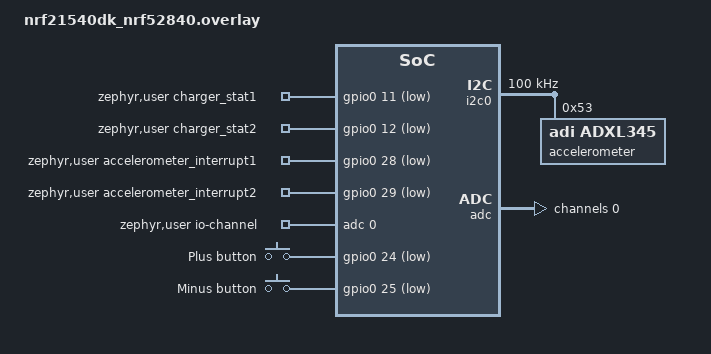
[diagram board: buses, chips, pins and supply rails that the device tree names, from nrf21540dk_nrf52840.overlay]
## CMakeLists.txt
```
# SPDX-License-Identifier: GPL-3.0-or-later

cmake_minimum_required(VERSION 3.20.0)
find_package(Zephyr REQUIRED HINTS $ENV{ZEPHYR_BASE})

project(gtfog_firmware LANGUAGES C CXX)

add_subdirectory(src)
```

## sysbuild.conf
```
SB_CONFIG_BOOTLOADER_MCUBOOT=y
# Swap with revert: an update that never confirms itself is rolled back on the next reset.
SB_CONFIG_MCUBOOT_MODE_SWAP_USING_MOVE=y
```

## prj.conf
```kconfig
# C++23 with the full standard library, no exceptions or RTTI.
CONFIG_CPP=y
CONFIG_STD_CPP23=y
CONFIG_REQUIRES_FULL_LIBCPP=y

# No console: no logging or boot banner. Turn CONFIG_LOG and CONFIG_LOG_BACKEND_RTT on to debug over RTT.
CONFIG_LOG=n
CONFIG_BOOT_BANNER=n
CONFIG_CBPRINTF_FP_SUPPORT=n

CONFIG_MAIN_STACK_SIZE=2048
CONFIG_SYSTEM_WORKQUEUE_STACK_SIZE=2048
CONFIG_HW_STACK_PROTECTION=y
CONFIG_LTO=y
CONFIG_ISR_TABLES_LOCAL_DECLARATION=y

CONFIG_GPIO=y
CONFIG_PWM=y
CONFIG_ADC=y
CONFIG_I2C=y
CONFIG_FPU=y
CONFIG_POWEROFF=y
CONFIG_REBOOT=y
# Hardware watchdog, fed by the battery thread.
CONFIG_WATCHDOG=y

# No 32.768 kHz crystal on the board: the low-frequency clock is the calibrated RC oscillator.
CONFIG_CLOCK_CONTROL_NRF_K32SRC_RC=y

# Settings in the storage partition: Bluetooth bonds and the device settings.
CONFIG_FLASH=y
CONFIG_FLASH_MAP=y
CONFIG_NVS=y
CONFIG_SETTINGS=y

# Bluetooth LE peripheral.
CONFIG_BT=y
CONFIG_BT_PERIPHERAL=y
CONFIG_BT_DEVICE_NAME="GTFOg"
CONFIG_BT_SMP=y
# LE Secure Connections only: legacy pairing can be cracked from a passive capture.
CONFIG_BT_SMP_SC_ONLY=y
CONFIG_BT_SETTINGS=y
# Database hash and Service Changed: bonded phones refresh their GATT cache after a firmware update.
CONFIG_BT_GATT_CACHING=y
CONFIG_BT_ASSERT=n
CONFIG_BT_MAX_CONN=1
# One connection at a time, but remember several phones and PCs; the oldest bond goes when full.
CONFIG_BT_MAX_PAIRED=4
CONFIG_BT_KEYS_OVERWRITE_OLDEST=y
# New pairings only in the first minutes after boot (ble.cpp); bonded phones always reconnect.
CONFIG_BT_SMP_APP_PAIRING_ACCEPT=y
# Large ATT MTU and data length, so one notification carries 40 accelerometer samples.
CONFIG_BT_L2CAP_TX_MTU=247
CONFIG_BT_BUF_ACL_TX_SIZE=251
CONFIG_BT_BUF_ACL_RX_SIZE=251
CONFIG_BT_CTLR_DATA_LENGTH_MAX=251
CONFIG_BT_BAS=y
CONFIG_BT_DIS=y
CONFIG_BT_DIS_MODEL_NUMBER_STR="GTFOg"
CONFIG_BT_DIS_MANUF_NAME_STR="elmaczete_customs"

CONFIG_BOOTLOADER_MCUBOOT=y

# Firmware update over Bluetooth (mcumgr SMP into slot 1); only from a paired phone.
CONFIG_NCS_SAMPLE_MCUMGR_BT_OTA_DFU=y
CONFIG_MCUMGR_TRANSPORT_BT_PERM_RW_ENCRYPT=y
```

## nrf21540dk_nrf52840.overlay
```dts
&gpio0 {
	status = "okay";
};

&pinctrl {
	pwm0_default: pwm0_default {
		group1 {
			psels = <NRF_PSEL(PWM_OUT0, 0, 13)>,
			        <NRF_PSEL(PWM_OUT1, 0, 14)>,
			        <NRF_PSEL(PWM_OUT2, 0, 15)>,
			        <NRF_PSEL(PWM_OUT3, 0, 16)>;
		};
	};
};


/ {
	pwmleds {
		led_r: led_r {
			pwms = <&pwm0 0 PWM_MSEC(20) PWM_POLARITY_NORMAL>;
		};

		led_g: led_g {
			pwms = <&pwm0 1 PWM_MSEC(20) PWM_POLARITY_NORMAL>;
		};

		fan: fan {
			pwms = <&pwm0 3 PWM_MSEC(20) PWM_POLARITY_NORMAL>;
		};

		led_b: led_b {
			pwms = <&pwm0 2 PWM_MSEC(20) PWM_POLARITY_NORMAL>;
		};
	};

	zephyr,user {
		charger_stat1-gpios = <&gpio0 11 (GPIO_ACTIVE_LOW | GPIO_PULL_UP)>;
		charger_stat2-gpios = <&gpio0 12 (GPIO_ACTIVE_LOW | GPIO_PULL_UP)>;
		accelerometer_interrupt1-gpios = <&gpio0 28 (GPIO_ACTIVE_LOW | GPIO_PULL_UP)>;
		accelerometer_interrupt2-gpios = <&gpio0 29 (GPIO_ACTIVE_LOW | GPIO_PULL_UP)>;
		io-channels = <&adc 0>; // VDDHDIV5

	};

	aliases {
		/delete-property/ sw0;
		/delete-property/ sw1;
		/delete-property/ sw2;
		/delete-property/ sw3;
		/delete-property/ mcuboot-button0;
	};


	buttons {
		compatible = "gpio-keys";
		button_plus: button_0 {
			gpios = <&gpio0 24 (GPIO_ACTIVE_LOW | GPIO_PULL_UP)>;
			label = "Plus button";
		};
		button_minus: button_1 {
			gpios = <&gpio0 25 (GPIO_ACTIVE_LOW | GPIO_PULL_UP)>;
			label = "Minus button";
		};
		/* ... other buttons ... */
	};

};
// /delete-node/ &button0;
// /delete-node/ &button1;
// /delete-node/ &button2;
// /delete-node/ &button3;

&i2c0 {
	accelerometer: adxl345@53 {
		compatible = "adi,adxl345";
		reg = <0x53>;
		status = "okay";
	};

	clock-frequency = <I2C_BITRATE_STANDARD>;
};

&i2c0_default {

	group2 {
		psels = <NRF_PSEL(TWIM_SCL, 0, 31)>, <NRF_PSEL(TWIM_SDA, 0, 30)>;
		bias-pull-up;
	};
};
/delete-node/ &{/pin-controller/i2c0_default/group1/};

&i2c0_sleep {

	group2 {
		psels = <NRF_PSEL(TWIM_SCL, 0, 31)>, <NRF_PSEL(TWIM_SDA, 0, 27)>;
		bias-pull-up;
		low-power-enable;
	};
};
/delete-node/ &{/pin-controller/i2c0_sleep/group1/};

&gpio0 {
	wakeup-source;
};



&adc {
	status = "okay";
	#address-cells = <1>;
	#size-cells = <0>;
	channel@0 {
		reg = <0>;
		zephyr,gain = "ADC_GAIN_1_2";
		zephyr,reference = "ADC_REF_INTERNAL";
		zephyr,acquisition-time = <ADC_ACQ_TIME_DEFAULT>;
		zephyr,input-positive = <NRF_SAADC_VDDHDIV5>; /* P0.30 */
		zephyr,resolution = <12>;
	};
};
```

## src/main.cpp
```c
#include "app.hpp"

#include <hal/nrf_power.h>
#include <zephyr/dfu/mcuboot.h>
#include <zephyr/init.h>
#include <zephyr/logging/log.h>

#include <cstdint>

LOG_MODULE_REGISTER(main, LOG_LEVEL_INF);

using namespace gtfog;

namespace {

constexpr auto watchdog_start_margin = K_SECONDS(1);

// A new image confirms itself only when Bluetooth works, else MCUboot reverts it on the next reset.
void confirm_image(int ble_err) {
  if(ble_err == 0 && !boot_is_img_confirmed() && boot_write_img_confirmed() != 0) {
    LOG_ERR("cannot confirm the image");
  }
}

} // namespace

int main() {
  // The settings first (stealth decides whether the LED lights up).
  app_settings_load();
  int ble_err = ble_init();
  if(ble_err != 0) {
    LOG_ERR("Bluetooth: %d", ble_err);
  }
  // A cell that only recovered above the cutoff at rest must not run the fan again: power off before it starts.
  if(auto sample = battery_sample()) {
    if(!battery_allows_start(*sample)) {
      confirm_image(ble_err); // The power off below must not revert a good update.
    }
    with_controller([&](gtfog::controller &control) { control.check_start(*sample); }); // Does not return when the battery is low.
  }
  accelerometer_motion_mode(with_controller([](gtfog::controller &control) {
    control.power_on();
    return control.settings().follows_motion();
  }));
  // The battery thread (and with it the watchdog) starts 500 ms after boot, so wait for it before confirming.
  k_sleep(watchdog_start_margin);
  confirm_image(ble_err);
  LOG_INF("started");
  return 0;
}

namespace {

// The regulator of the nRF52833 (VDDH mode) must give 3.3 V to the GPIOs; a UICR write needs a reset, so it happens once per chip.
// Only an erased value (7) is rewritten: bits cannot be set again without an erase, and a failed write would reset forever.
auto set_gpio_voltage() -> int {
  if(nrf_power_mainregstatus_get(NRF_POWER) != NRF_POWER_MAINREGSTATUS_HIGH) {
    return 0; // Normal voltage mode.
  }
  bool supply_is_3v3 = (NRF_UICR->REGOUT0 & UICR_REGOUT0_VOUT_Msk) == (UICR_REGOUT0_VOUT_3V3 << UICR_REGOUT0_VOUT_Pos);
  bool supply_is_default = (NRF_UICR->REGOUT0 & UICR_REGOUT0_VOUT_Msk) == (UICR_REGOUT0_VOUT_DEFAULT << UICR_REGOUT0_VOUT_Pos);
  if(supply_is_3v3 || !supply_is_default) {
    return 0;
  }

  // ponytail: the NVMC ready waits have no timeout; a UICR write takes microseconds and the reset below ends this path.
  NRF_NVMC->CONFIG = NVMC_CONFIG_WEN_Wen << NVMC_CONFIG_WEN_Pos;
  while(NRF_NVMC->READY == NVMC_READY_READY_Busy) {
  }

  NRF_UICR->REGOUT0 = (NRF_UICR->REGOUT0 & ~static_cast<std::uint32_t>(UICR_REGOUT0_VOUT_Msk)) | (UICR_REGOUT0_VOUT_3V3 << UICR_REGOUT0_VOUT_Pos);

  NRF_NVMC->CONFIG = NVMC_CONFIG_WEN_Ren << NVMC_CONFIG_WEN_Pos;
  while(NRF_NVMC->READY == NVMC_READY_READY_Busy) {
  }

  NVIC_SystemReset();
}

SYS_INIT(set_gpio_voltage, PRE_KERNEL_1, CONFIG_KERNEL_INIT_PRIORITY_DEFAULT);

} // namespace
```

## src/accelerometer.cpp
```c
// ADXL345 over raw I2C: 100 Hz, +-16 g full resolution, FIFO in stream mode. Powered only while a phone subscribes to
// the stream or the fan follows movement; samples go to Bluetooth and to the motion detector.
#include "app.hpp"
#include "motion.hpp"

#include <zephyr/drivers/gpio.h>
#include <zephyr/drivers/i2c.h>
#include <zephyr/logging/log.h>

#include <array>
#include <atomic>
#include <chrono>
#include <optional>
#include <tuple>

LOG_MODULE_REGISTER(accelerometer, LOG_LEVEL_INF);

using gtfog::ble_accelerometer_samples_per_packet, gtfog::ble_accelerometer_send, gtfog::with_controller;

namespace {

constexpr std::uint8_t rate_hz = 100;
constexpr std::uint8_t reg_devid = 0x00, reg_bw_rate = 0x2c, reg_power_ctl = 0x2d, reg_data_format = 0x31, reg_datax0 = 0x32, reg_fifo_ctl = 0x38,
                       reg_fifo_status = 0x39;

i2c_dt_spec const bus = I2C_DT_SPEC_GET(DT_NODELABEL(accelerometer));
gpio_dt_spec const power = GPIO_DT_SPEC_GET(DT_PATH(zephyr_user), accelerometer_pwr_gpios);

constexpr std::chrono::milliseconds poll_time{200}; // The 32-sample FIFO holds 320 ms at 100 Hz.
constexpr auto shutdown_wait = K_SECONDS(1);        // Longest wait for the thread to cut the power.
constexpr auto retry_delay = K_SECONDS(10);
constexpr int sensor_power_cycle_off_ms = 100;   // With the supply off.
constexpr int sensor_settle_ms = 500;            // From supply on until the sensor answers.
constexpr auto lost_retry_delay = K_SECONDS(60); // A sensor that was given up on is tried again this rarely.

std::atomic<bool> streaming{false};
std::atomic<bool> motion_mode{false};
std::atomic<bool> shutdown{false}; // Set before System OFF; the thread then drops the power pin and stays down.
K_SEM_DEFINE(wanted_changed, 0, 1);
K_SEM_DEFINE(shutdown_done, 0, 1);

auto wanted() -> bool { return !shutdown && (streaming || motion_mode); }

// Waits for the next retry; a give from before the call does not cut the wait short. Only a later change does.
void wait_before_retry(k_timeout_t delay) {
  k_sem_reset(&wanted_changed);
  if(wanted()) {
    std::ignore = k_sem_take(&wanted_changed, delay); // A timeout is the normal end.
  }
}

// A pin write that fails leaves the sensor as it was; nothing else to do.
void power_down() { std::ignore = gpio_pin_configure_dt(&power, GPIO_OUTPUT_INACTIVE); }

auto power_up() -> int {
  if(int err = gpio_pin_configure_dt(&power, GPIO_OUTPUT_INACTIVE); err != 0) {
    return err;
  }
  k_msleep(sensor_power_cycle_off_ms);
  if(int err = gpio_pin_set_dt(&power, 1); err != 0) {
    return err;
  }
  k_msleep(sensor_settle_ms);

  std::uint8_t id = 0;
  if(int err = i2c_reg_read_byte_dt(&bus, reg_devid, &id); err != 0) {
    return err;
  }
  if(id != 0xe5) {
    return -ENODEV;
  }
  int err = i2c_reg_write_byte_dt(&bus, reg_power_ctl, 0x00);      // Standby while configuring.
  err = err ?: i2c_reg_write_byte_dt(&bus, reg_data_format, 0x0b); // Full resolution, +-16 g.
  err = err ?: i2c_reg_write_byte_dt(&bus, reg_bw_rate, 0x0a);     // 100 Hz.
  err = err ?: i2c_reg_write_byte_dt(&bus, reg_fifo_ctl, 0x80);    // FIFO stream mode.
  return err ?: i2c_reg_write_byte_dt(&bus, reg_power_ctl, 0x08);  // Measure.
}

void flush_fifo() {
  // A missed flush only repeats or drops a few samples; a dead sensor is caught by the watchdog.
  std::ignore = i2c_reg_write_byte_dt(&bus, reg_fifo_ctl, 0x00);
  std::ignore = i2c_reg_write_byte_dt(&bus, reg_fifo_ctl, 0x80);
}

void sensor_gone() {
  LOG_ERR("accelerometer lost");
  with_controller([](gtfog::controller &control) { control.sensor_lost(); });
}

void accelerometer_thread(void *, void *, void *) {
  std::array<gtfog::accelerometer_sample, gtfog::accelerometer_max_samples> batch{};
  std::array<std::uint8_t, gtfog::accelerometer_header_size + gtfog::accelerometer_sample_size * gtfog::accelerometer_max_samples> packet{};

  using verdict = gtfog::fifo_watchdog::verdict;
  gtfog::fifo_watchdog watchdog;
  while(true) {
    if(!wanted()) {
      power_down(); // The thread owns the pin.
      if(shutdown) {
        k_sem_give(&shutdown_done);
      }
      k_sem_take(&wanted_changed, K_FOREVER);
      continue;
    }
    if(int err = power_up(); err != 0) {
      LOG_ERR("power up: %d", err);
      power_down();
      auto verdict_now = watchdog.poll(false, gtfog::fifo_watchdog::stall_time);
      if(verdict_now == verdict::lost) {
        sensor_gone();
      }
      wait_before_retry(verdict_now == verdict::lost || verdict_now == verdict::still_lost ? lost_retry_delay : retry_delay);
      continue;
    }
    gtfog::activity_classifier classifier;
    std::uint16_t seq = 0;
    std::size_t filled = 0;
    bool was_streaming = false;
    while(wanted()) {
      if(streaming && !was_streaming) {
        flush_fifo();
        classifier.reset();
        seq = 0;
        filled = 0;
      }
      was_streaming = streaming;
      std::size_t per_packet = streaming ? ble_accelerometer_samples_per_packet() : 0;
      std::optional<gtfog::activity_level> level;
      std::uint8_t status = 0;
      bool healthy = i2c_reg_read_byte_dt(&bus, reg_fifo_status, &status) == 0 && gtfog::fifo_entries(status) != 0;
      if(gtfog::fifo_overflowed(status)) {
        LOG_WRN("FIFO overflow");
        flush_fifo(); // Samples were lost; start over.
        classifier.reset();
        status = 0;
      }
      for(unsigned i = 0; i < gtfog::fifo_entries(status); ++i) {
        std::array<std::uint8_t, 6> raw{};
        if(i2c_burst_read_dt(&bus, reg_datax0, raw.data(), raw.size()) != 0) {
          healthy = false;
          continue;
        }
        gtfog::accelerometer_sample sample{static_cast<std::int16_t>(raw[0] | raw[1] << 8), static_cast<std::int16_t>(raw[2] | raw[3] << 8),
                                           static_cast<std::int16_t>(raw[4] | raw[5] << 8)};
        if(auto done = classifier.update(std::span{&sample, 1})) {
          level = done;
        }
        if(per_packet == 0) {
          continue;
        }
        batch[filled++] = sample;
        if(filled >= per_packet) {
          auto len = gtfog::pack_accelerometer_samples(seq++, rate_hz, std::span{batch.data(), filled}, packet);
          ble_accelerometer_send(std::span{packet.data(), len});
          filled = 0;
          per_packet = ble_accelerometer_samples_per_packet();
        }
      }
      if(motion_mode && level) {
        with_controller([&](gtfog::controller &control) { control.observe(*level); });
      }
      auto verdict_now = watchdog.poll(healthy, poll_time);
      if(verdict_now == verdict::lost) {
        sensor_gone();
      }
      if(verdict_now != verdict::ok) {
        LOG_WRN("no samples, power cycling the sensor");
        if(verdict_now == verdict::lost || verdict_now == verdict::still_lost) {
          power_down();
          wait_before_retry(lost_retry_delay);
        }
        break; // Back to power_up().
      }
      k_msleep(poll_time.count());
    }
  }
}

K_THREAD_DEFINE(accelerometer, 1536, accelerometer_thread, nullptr, nullptr, nullptr, 10, 0, 100);

} // namespace

void gtfog::accelerometer_stream(bool on) {
  streaming = on;
  k_sem_give(&wanted_changed);
}

void gtfog::accelerometer_motion_mode(bool on) {
  motion_mode = on;
  k_sem_give(&wanted_changed);
}

void gtfog::accelerometer_power_off() {
  streaming = false;
  motion_mode = false;
  shutdown = true;
  k_sem_give(&wanted_changed);
  // The thread may be inside power_up() (0.6 s) or wait for the controller mutex held by our caller; do not wait for ever.
  std::ignore = k_sem_take(&shutdown_done, shutdown_wait);
  power_down(); // Fallback when the thread did not answer in time.
}
```

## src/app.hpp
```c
#ifndef GTFOG_APP_HPP
#define GTFOG_APP_HPP

#include "controller.hpp"

#include <zephyr/kernel.h>

#include <cstddef>
#include <optional>
#include <span>
#include <utility>

extern k_mutex controller_mutex;
[[nodiscard]] auto app_controller() noexcept -> gtfog::controller &;

// Runs `f(controller &)` with the controller locked; every thread goes through here.
template <typename F> decltype(auto) with_controller(F &&f) {
  struct lock {
    lock() { k_mutex_lock(&controller_mutex, K_FOREVER); }
    ~lock() { k_mutex_unlock(&controller_mutex); }
  } held;
  return std::forward<F>(f)(app_controller());
}

// Blocks until both buttons are released, then arms them to wake the device from System OFF.
void buttons_arm_wake();

// Loads the settings of the "gtfog" subtree from flash into the controller; independent of Bluetooth.
void app_settings_load();
[[nodiscard]] auto ble_init() -> int;
[[nodiscard]] auto ble_connected() -> bool;
void ble_state_changed(); // Notifies the fan speed and strobe state to a connected phone.
void ble_battery_changed(std::uint8_t percent);
void ble_charger_changed(gtfog::charger_state state);
[[nodiscard]] auto ble_accel_samples_per_packet() -> std::size_t; // 0 when nobody is connected.
void ble_accel_send(std::span<std::uint8_t const> packet);

void ble_settings_changed(gtfog::device_settings const &settings); // Notifies the phone and stores them in flash after 2 s; does not block.
void ble_settings_flush();                                         // Stores them now, in the calling thread (before System OFF).

// One synchronous battery sample (boot check); empty when the ADC does not work.
[[nodiscard]] auto battery_sample() -> std::optional<gtfog::battery_status>;

void accelerometer_stream(bool on);
void accelerometer_motion_mode(bool on); // Powers the sensor for motion detection while on.
void accelerometer_power_off();          // Cuts the sensor's power before System OFF; any thread, never takes the controller mutex.

#endif
```

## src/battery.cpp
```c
// Measures the battery and reads the charger status pins.
#include "app.hpp"

#include <zephyr/drivers/adc.h>
#include <zephyr/drivers/gpio.h>
#include <zephyr/drivers/watchdog.h>
#include <zephyr/logging/log.h>

#include <chrono>
#include <tuple>

LOG_MODULE_REGISTER(battery, LOG_LEVEL_INF);

using gtfog::read_failure_guard, gtfog::ble_battery_changed, gtfog::ble_charger_changed, gtfog::ble_connected, gtfog::with_controller;

namespace {

// ponytail: VBAT reaches AIN4 through a 47k/47k divider (POWER sheet); calibrate against a multimeter.
constexpr int vbat_divider = 2;
constexpr unsigned sample_interval_s = 10;        // The auto-off resolution.
constexpr auto fault_signal_delay = K_SECONDS(2); // Lets the power-on signal finish first.
constexpr std::uint32_t watchdog_timeout_ms = 30'000;

device const *const watchdog = DEVICE_DT_GET(DT_NODELABEL(wdt0));
int watchdog_channel = -1;

// Resets the device when the loop below does not come back to feed it, e.g. a controller mutex held forever. A failure is
// only logged: the device works without the watchdog.
auto watchdog_start() -> int {
  if(!device_is_ready(watchdog)) {
    return -ENODEV;
  }
  wdt_timeout_cfg timeout{.window = {.min = 0, .max = watchdog_timeout_ms}, .callback = nullptr, .flags = WDT_FLAG_RESET_SOC};
  watchdog_channel = wdt_install_timeout(watchdog, &timeout);
  if(watchdog_channel < 0) {
    return watchdog_channel;
  }
  return wdt_setup(watchdog, WDT_OPT_PAUSE_HALTED_BY_DBG);
}

adc_dt_spec const vbat = ADC_DT_SPEC_GET_BY_NAME(DT_NODELABEL(adc), vbat);
gpio_dt_spec const stat1 = GPIO_DT_SPEC_GET(DT_PATH(zephyr_user), charger_stat1_gpios);
gpio_dt_spec const stat2 = GPIO_DT_SPEC_GET(DT_PATH(zephyr_user), charger_stat2_gpios);

// Called by main (boot check) and the battery thread; the first successful setup is the only one, so no channel is
// reconfigured while the other thread reads.
K_MUTEX_DEFINE(setup_mutex);
bool setup_done;

auto setup_once() -> int {
  if(!adc_is_ready_dt(&vbat) || !gpio_is_ready_dt(&stat1) || !gpio_is_ready_dt(&stat2)) {
    return -ENODEV;
  }
  if(int err = adc_channel_setup_dt(&vbat); err != 0) {
    return err;
  }
  if(int err = gpio_pin_configure_dt(&stat1, GPIO_INPUT); err != 0) {
    return err;
  }
  return gpio_pin_configure_dt(&stat2, GPIO_INPUT);
}

auto setup() -> int {
  k_mutex_lock(&setup_mutex, K_FOREVER);
  int err = setup_done ? 0 : setup_once();
  setup_done = err == 0;
  k_mutex_unlock(&setup_mutex);
  return err;
}

auto read_millivolts() -> int {
  // One 10 us sample catches the ripple of the fan's boost converter at random: average 2^8 samples (about 3 ms) in the
  // SAADC and calibrate its offset on every read (every 10 s, so temperature drift does not matter).
  constexpr std::uint8_t oversampling = 8;
  std::int16_t sample{};
  adc_sequence sequence{.buffer = &sample, .buffer_size = sizeof(sample)};
  if(int err = adc_sequence_init_dt(&vbat, &sequence); err != 0) {
    return err;
  }
  sequence.oversampling = oversampling;
  sequence.calibrate = true;
  if(int err = adc_read_dt(&vbat, &sequence); err != 0) {
    return err;
  }
  std::int32_t millivolts = sample;
  if(int err = adc_raw_to_millivolts_dt(&vbat, &millivolts); err != 0) {
    return err;
  }
  return millivolts * vbat_divider;
}

// The fan's current makes single reads jump by hundreds of mV; the controller needs one value per period, so the reads of the
// whole period are averaged. Takes the period; failed reads are left out, all failing returns the last error.
constexpr int reads_per_sample = 50;

auto read_period_average() -> int {
  int sum = 0;
  int good = 0;
  int err = -EIO;
  for(int i = 0; i != reads_per_sample; ++i) {
    k_msleep(sample_interval_s * 1000 / reads_per_sample);
    if(int millivolts = read_millivolts(); millivolts < 0) {
      err = millivolts;
    } else {
      sum += millivolts;
      ++good;
    }
  }
  return good != 0 ? sum / good : err;
}

gtfog::battery_status make_status(int millivolts) {
  return {millivolts, gtfog::decode_charger_state(gpio_pin_get_dt(&stat1) > 0, gpio_pin_get_dt(&stat2) > 0)};
}

void battery_thread(void *, void *, void *) {
  if(int err = watchdog_start(); err != 0) {
    LOG_ERR("watchdog: %d", err);
    watchdog_channel = -1;
  }
  // Without a working ADC the loop still counts the idle time for the auto-off.
  int setup_err = setup();
  if(setup_err != 0) {
    LOG_ERR("setup: %d", setup_err);
    // ponytail: the low-battery cutoff and the BAS value are gone until a retry works; show it after the power-on signal.
    k_sleep(fault_signal_delay);
    with_controller([](gtfog::controller &control) { control.report(gtfog::signal::fault); });
  }
  read_failure_guard read_guard;
  std::int64_t counted_ms = k_uptime_get();
  while(true) {
    // The loop runs a little slower than its period; count the real time, keeping the remainder.
    auto idle = std::chrono::duration_cast<std::chrono::seconds>(std::chrono::milliseconds{k_uptime_get() - counted_ms});
    counted_ms += std::chrono::duration_cast<std::chrono::milliseconds>(idle).count();
    if(setup_err != 0) {
      setup_err = setup(); // Retried every period; a failure counts as a failed read below.
    }
    bool averaged = setup_err == 0;
    int millivolts = averaged ? read_period_average() : setup_err; // The average takes the whole period.
    // Fed right after the controller mutex section, before anything that may block (notifications).
    auto feed_watchdog = [] {
      if(watchdog_channel >= 0) {
        std::ignore = wdt_feed(watchdog, watchdog_channel); // A failed feed ends in a reset, which is the safe outcome.
      }
    };
    if(millivolts < 0) {
      LOG_WRN("ADC read: %d", millivolts);
      // Failing reads, or a setup that keeps failing, mean no cutoff, so they end in a power off.
      auto verdict = read_guard.update(false);
      with_controller([&](gtfog::controller &control) {
        control.elapsed(idle, ble_connected());
        if(verdict == read_failure_guard::verdict::fault) {
          control.report(gtfog::signal::fault);
        } else if(verdict == read_failure_guard::verdict::power_off) {
          control.battery_unreadable(); // Does not return on the board.
        }
      });
      feed_watchdog();
    } else {
      std::ignore = read_guard.update(true);
      auto status = make_status(millivolts);
      LOG_DBG("%d mV, charger %d", millivolts, static_cast<int>(status.charger));
      auto percent = with_controller([&](gtfog::controller &control) {
        control.handle(status);
        control.elapsed(idle, ble_connected());
        return control.battery_level();
      });
      feed_watchdog();
      ble_battery_changed(percent);
      ble_charger_changed(status.charger);
    }
    if(!averaged) {
      k_sleep(K_SECONDS(sample_interval_s));
    }
  }
}

K_THREAD_DEFINE(battery, 2048, battery_thread, nullptr, nullptr, nullptr, 7, 0, 500);

} // namespace

auto gtfog::battery_sample() -> std::optional<gtfog::battery_status> {
  if(setup() != 0) {
    return std::nullopt;
  }
  int millivolts = read_millivolts();
  return millivolts < 0 ? std::nullopt : std::optional{make_status(millivolts)};
}
```

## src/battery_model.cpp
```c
#include "battery_model.hpp"

#include <array>
#include <utility>

namespace gtfog {

auto decode_charger_state(bool stat1, bool stat2) noexcept -> charger_state {
  // BQ25185 datasheet, status pin table: high/high is done, sleeping or no input; high/low is charging; low/x is a
  // recoverable (low/high) or latched (low/low) fault.
  if(!stat1) {
    return charger_state::fault;
  }
  return stat2 ? charger_state::not_charging : charger_state::charging;
}

auto battery_percentage(int millivolts) noexcept -> std::uint8_t {
  // ponytail: generic Li-ion curve at light load; measure the real cell to calibrate.
  constexpr std::array<std::pair<int, int>, 8> curve{{
      {3300, 0},
      {3500, 5},
      {3600, 10},
      {3700, 30},
      {3800, 50},
      {3900, 65},
      {4000, 80},
      {4200, 100},
  }};

  if(millivolts <= curve.front().first) {
    return 0;
  }
  for(std::size_t i = 1; i != curve.size(); ++i) {
    auto [upper_millivolts, upper_percent] = curve[i];
    if(millivolts < upper_millivolts) {
      auto [lower_millivolts, lower_percent] = curve[i - 1];
      return static_cast<std::uint8_t>(lower_percent +
                                       (millivolts - lower_millivolts) * (upper_percent - lower_percent) / (upper_millivolts - lower_millivolts));
    }
  }
  return 100;
}

auto battery_guard::update(battery_status status) noexcept -> bool {
  bool on_external_power = status.charger == charger_state::charging;
  if(on_external_power || status.millivolts >= cutoff_millivolts) {
    low_samples = 0;
    return false;
  }
  if(low_samples < samples_below_cutoff) {
    ++low_samples;
  }
  return low_samples == samples_below_cutoff;
}

} // namespace gtfog
```

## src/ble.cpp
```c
// Bluetooth LE peripheral: the GTFOg control service, Battery Service and Device Information Service.
#include "app.hpp"
#include "motion.hpp"

#include <zephyr/bluetooth/bluetooth.h>
#include <zephyr/bluetooth/conn.h>
#include <zephyr/bluetooth/gatt.h>
#include <zephyr/bluetooth/services/bas.h>
#include <zephyr/bluetooth/uuid.h>
#include <zephyr/logging/log.h>
#include <zephyr/settings/settings.h>

#include <algorithm>
#include <array>
#include <atomic>
#include <cstring>
#include <optional>
#include <tuple>
#include <utility>

LOG_MODULE_REGISTER(ble, LOG_LEVEL_INF);

using gtfog::accelerometer_stream, gtfog::with_controller;

namespace {

K_MUTEX_DEFINE(save_lock); // Keeps the delayed save and the save before System OFF apart.

#define GTFOG_UUID(n) BT_UUID_INIT_128(BT_UUID_128_ENCODE(0xa7f00000 + (n), 0x5c1e, 0x4b8e, 0x9d2a, 0x6f0e1c3b4d50))

bt_uuid_128 const service_uuid = GTFOG_UUID(1);
bt_uuid_128 const fan_uuid = GTFOG_UUID(2);
bt_uuid_128 const strobe_uuid = GTFOG_UUID(3);
bt_uuid_128 const accelerometer_uuid = GTFOG_UUID(4);
bt_uuid_128 const charger_uuid = GTFOG_UUID(5);
bt_uuid_128 const settings_uuid = GTFOG_UUID(6);
bt_uuid_128 const effective_fan_uuid = GTFOG_UUID(7);
bt_uuid_128 const rf_test_uuid = GTFOG_UUID(8);
constexpr char settings_key[] = "gtfog/cfg";
constexpr auto save_delay = K_SECONDS(2); // Settings changes within this time are stored together.
constexpr auto advertising_retry = K_SECONDS(5);

std::atomic<std::uint8_t> charger{0};
// ponytail: one connection at a time (CONFIG_BT_MAX_CONN=1); the accelerometer thread reads only the cached ATT MTU.
std::atomic<bt_conn *> current_conn{nullptr};
std::atomic<std::uint16_t> att_mtu{0};
std::atomic<bool> stopping{false};       // ble_stop() ran: no more advertising.
std::atomic<bool> link_encrypted{false}; // Security level 2 or higher; only such a connection counts as a phone in use.

auto read_fan(bt_conn *conn, bt_gatt_attr const *attr, void *buf, std::uint16_t len, std::uint16_t offset) -> ssize_t {
  auto value = with_controller([](gtfog::controller &control) { return static_cast<std::uint8_t>(control.fan_speed()); });
  return bt_gatt_attr_read(conn, attr, buf, len, offset, &value, sizeof(value));
}

auto write_fan(bt_conn *, bt_gatt_attr const *, void const *buf, std::uint16_t len, std::uint16_t offset, std::uint8_t) -> ssize_t {
  if(offset != 0 || len != 1) {
    return BT_GATT_ERR(BT_ATT_ERR_INVALID_ATTRIBUTE_LEN);
  }
  auto value = *static_cast<std::uint8_t const *>(buf);
  if(!gtfog::is_fan_percent(value)) {
    return BT_GATT_ERR(BT_ATT_ERR_VALUE_NOT_ALLOWED);
  }
  with_controller([&](gtfog::controller &control) { control.set_fan_speed(value); });
  return len;
}

auto read_strobe(bt_conn *conn, bt_gatt_attr const *attr, void *buf, std::uint16_t len, std::uint16_t offset) -> ssize_t {
  std::uint8_t value = with_controller([](gtfog::controller &control) { return control.strobe(); });
  return bt_gatt_attr_read(conn, attr, buf, len, offset, &value, sizeof(value));
}

auto write_strobe(bt_conn *, bt_gatt_attr const *, void const *buf, std::uint16_t len, std::uint16_t offset, std::uint8_t) -> ssize_t {
  if(offset != 0 || len != 1) {
    return BT_GATT_ERR(BT_ATT_ERR_INVALID_ATTRIBUTE_LEN);
  }
  auto value = *static_cast<std::uint8_t const *>(buf);
  if(!gtfog::is_strobe_value(value)) {
    return BT_GATT_ERR(BT_ATT_ERR_VALUE_NOT_ALLOWED);
  }
  with_controller([&](gtfog::controller &control) { control.set_strobe(value != 0); });
  return len;
}

auto read_charger(bt_conn *conn, bt_gatt_attr const *attr, void *buf, std::uint16_t len, std::uint16_t offset) -> ssize_t {
  std::uint8_t value = charger;
  return bt_gatt_attr_read(conn, attr, buf, len, offset, &value, sizeof(value));
}

auto read_settings(bt_conn *conn, bt_gatt_attr const *attr, void *buf, std::uint16_t len, std::uint16_t offset) -> ssize_t {
  auto value = gtfog::encode(with_controller([](gtfog::controller &control) { return control.settings(); }));
  return bt_gatt_attr_read(conn, attr, buf, len, offset, value.data(), value.size());
}

auto write_settings(bt_conn *, bt_gatt_attr const *, void const *buf, std::uint16_t len, std::uint16_t offset, std::uint8_t) -> ssize_t {
  // Shorter forms change only the fields they carry, so they are decoded on top of the current settings.
  if(offset != 0) {
    return BT_GATT_ERR(BT_ATT_ERR_INVALID_OFFSET);
  }
  bool accepted = with_controller([&](gtfog::controller &control) {
    auto settings = gtfog::decode_settings({static_cast<std::uint8_t const *>(buf), len}, control.settings());
    if(settings) {
      control.update_settings(*settings); // Calls ble_settings_changed().
    }
    return settings.has_value();
  });
  if(!accepted) {
    return BT_GATT_ERR(gtfog::is_settings_size(len) ? BT_ATT_ERR_VALUE_NOT_ALLOWED : BT_ATT_ERR_INVALID_ATTRIBUTE_LEN);
  }
  return len;
}

std::optional<std::array<std::uint8_t, gtfog::settings_size>> last_saved; // Flash content; used by load_settings and save_pending, under save_lock.
auto load_settings(char const *key, std::size_t len, settings_read_cb read, void *arg) -> int {
  std::array<std::uint8_t, gtfog::settings_size> bytes{};
  if(std::strcmp(key, "cfg") != 0 || !gtfog::is_settings_size(len) || read(arg, bytes.data(), len) != static_cast<ssize_t>(len)) {
    return 0; // Unknown or damaged entries keep the defaults.
  }
  if(auto settings = gtfog::decode_settings({bytes.data(), len})) {
    with_controller([&](gtfog::controller &control) { control.configure(*settings); });
    k_mutex_lock(&save_lock, K_FOREVER);
    last_saved = gtfog::encode(*settings);
    k_mutex_unlock(&save_lock);
  }
  return 0;
}

auto read_effective_fan(bt_conn *conn, bt_gatt_attr const *attr, void *buf, std::uint16_t len, std::uint16_t offset) -> ssize_t {
  auto value = with_controller([](gtfog::controller &control) {
    return std::array<std::uint8_t, 2>{static_cast<std::uint8_t>(control.fan_speed()), control.activity_code()};
  });
  return bt_gatt_attr_read(conn, attr, buf, len, offset, &value, sizeof(value));
}

auto write_rf_test(bt_conn *, bt_gatt_attr const *, void const *buf, std::uint16_t len, std::uint16_t offset, std::uint8_t) -> ssize_t {
  if(offset != 0 || !gtfog::is_rf_test_size(len)) {
    return BT_GATT_ERR(BT_ATT_ERR_INVALID_ATTRIBUTE_LEN);
  }
  auto request = gtfog::decode_rf_test({static_cast<std::uint8_t const *>(buf), len});
  if(!request || gtfog::rf_test_start(*request) != 0) {
    return BT_GATT_ERR(BT_ATT_ERR_VALUE_NOT_ALLOWED);
  }
  return len;
}

void accelerometer_subscribed(bt_gatt_attr const *, std::uint16_t value) { accelerometer_stream(value == BT_GATT_CCC_NOTIFY); }

constexpr auto rw_notify = BT_GATT_CHRC_READ | BT_GATT_CHRC_WRITE | BT_GATT_CHRC_NOTIFY;
constexpr auto encrypted = BT_GATT_PERM_READ_ENCRYPT | BT_GATT_PERM_WRITE_ENCRYPT;

} // namespace

BT_GATT_SERVICE_DEFINE(gtfog_service, BT_GATT_PRIMARY_SERVICE(&service_uuid),
                       BT_GATT_CHARACTERISTIC(&fan_uuid.uuid, rw_notify, encrypted, read_fan, write_fan, nullptr),
                       BT_GATT_CCC(nullptr, BT_GATT_PERM_READ | BT_GATT_PERM_WRITE_ENCRYPT),
                       BT_GATT_CHARACTERISTIC(&strobe_uuid.uuid, rw_notify, encrypted, read_strobe, write_strobe, nullptr),
                       BT_GATT_CCC(nullptr, BT_GATT_PERM_READ | BT_GATT_PERM_WRITE_ENCRYPT),
                       BT_GATT_CHARACTERISTIC(&accelerometer_uuid.uuid, BT_GATT_CHRC_NOTIFY, BT_GATT_PERM_NONE, nullptr, nullptr, nullptr),
                       BT_GATT_CCC(accelerometer_subscribed, BT_GATT_PERM_READ | BT_GATT_PERM_WRITE_ENCRYPT),
                       BT_GATT_CHARACTERISTIC(&charger_uuid.uuid, BT_GATT_CHRC_READ | BT_GATT_CHRC_NOTIFY, BT_GATT_PERM_READ_ENCRYPT, read_charger,
                                              nullptr, nullptr),
                       BT_GATT_CCC(nullptr, BT_GATT_PERM_READ | BT_GATT_PERM_WRITE_ENCRYPT),
                       BT_GATT_CHARACTERISTIC(&settings_uuid.uuid, rw_notify, encrypted, read_settings, write_settings, nullptr),
                       BT_GATT_CCC(nullptr, BT_GATT_PERM_READ | BT_GATT_PERM_WRITE_ENCRYPT),
                       BT_GATT_CHARACTERISTIC(&effective_fan_uuid.uuid, BT_GATT_CHRC_READ | BT_GATT_CHRC_NOTIFY, BT_GATT_PERM_READ_ENCRYPT,
                                              read_effective_fan, nullptr, nullptr),
                       BT_GATT_CCC(nullptr, BT_GATT_PERM_READ | BT_GATT_PERM_WRITE_ENCRYPT),
                       BT_GATT_CHARACTERISTIC(&rf_test_uuid.uuid, BT_GATT_CHRC_WRITE, BT_GATT_PERM_WRITE_ENCRYPT, nullptr, write_rf_test, nullptr), );

SETTINGS_STATIC_HANDLER_DEFINE(gtfog, "gtfog", nullptr, load_settings, nullptr, nullptr);

namespace {

// Attribute indices in gtfog_service: 0 service, 1 + 3k characteristic declaration, 2 + 3k value, 3 + 3k CCC (the RF test one has no CCC).
constexpr auto fan_value = 2;
constexpr auto strobe_value = 5;
constexpr auto accelerometer_value = 8;
constexpr auto charger_value = 11;
constexpr auto settings_value = 14;
constexpr auto effective_fan_value = 17;
static_assert(ARRAY_SIZE(attr_gtfog_service) == 21, "update the attribute indices above");

std::uint8_t const flags[] = {BT_LE_AD_GENERAL | BT_LE_AD_NO_BREDR};
std::uint8_t const service_uuid_bytes[] = {BT_UUID_128_ENCODE(0xa7f00001, 0x5c1e, 0x4b8e, 0x9d2a, 0x6f0e1c3b4d50)};

bt_data const advertising[] = {
    {BT_DATA_FLAGS, sizeof(flags), flags},
    {BT_DATA_UUID128_ALL, sizeof(service_uuid_bytes), service_uuid_bytes},
};
bt_data const scan_response[] = {
    {BT_DATA_NAME_COMPLETE, sizeof(CONFIG_BT_DEVICE_NAME) - 1, reinterpret_cast<std::uint8_t const *>(CONFIG_BT_DEVICE_NAME)},
};

void start_advertising(k_work *work);
K_WORK_DELAYABLE_DEFINE(advertising_work, start_advertising);

// A failed start is tried again every 5 s, so the device does not stay unreachable.
void start_advertising(k_work *) {
  if(stopping) {
    return;
  }
  bt_le_adv_param param = BT_LE_ADV_PARAM_INIT(BT_LE_ADV_OPT_CONN, BT_GAP_ADV_FAST_INT_MIN_2, BT_GAP_ADV_FAST_INT_MAX_2, nullptr);
  if(int err = bt_le_adv_start(&param, advertising, ARRAY_SIZE(advertising), scan_response, ARRAY_SIZE(scan_response));
     err != 0 && err != -EALREADY) {
    LOG_ERR("advertising: %d", err);
    k_work_reschedule(&advertising_work, advertising_retry);
  }
}

void notify_state(k_work *) {
  auto [fan, activity, strobe] = with_controller([](gtfog::controller &control) {
    return std::tuple<std::uint8_t, std::uint8_t, std::uint8_t>(control.fan_speed(), control.activity_code(), control.strobe());
  });
  std::array<std::uint8_t, 2> const actual{fan, activity};
  // -ENOTCONN and friends only mean nobody listens.
  std::ignore = bt_gatt_notify(nullptr, &gtfog_service.attrs[fan_value], &fan, sizeof(fan));
  std::ignore = bt_gatt_notify(nullptr, &gtfog_service.attrs[effective_fan_value], actual.data(), actual.size());
  std::ignore = bt_gatt_notify(nullptr, &gtfog_service.attrs[strobe_value], &strobe, sizeof(strobe));
}
K_WORK_DEFINE(notify_work, notify_state);

std::optional<std::array<std::uint8_t, gtfog::settings_size>> pending_settings;
k_spinlock pending_settings_lock;

// Writes the newest settings to flash unless they are already there. Used by the delayed work and by ble_settings_flush.
void save_pending() {
  k_mutex_lock(&save_lock, K_FOREVER);
  auto key = k_spin_lock(&pending_settings_lock);
  auto bytes = pending_settings;
  k_spin_unlock(&pending_settings_lock, key);
  if(bytes && bytes != last_saved) {
    if(int err = settings_save_one(settings_key, bytes->data(), bytes->size()); err != 0) {
      LOG_ERR("save settings: %d", err);
    } else {
      last_saved = bytes;
    }
  }
  k_mutex_unlock(&save_lock);
}

void save_settings(k_work *) { save_pending(); }
K_WORK_DELAYABLE_DEFINE(save_settings_work, save_settings);

void notify_settings(k_work *) {
  auto key = k_spin_lock(&pending_settings_lock);
  auto bytes = pending_settings;
  k_spin_unlock(&pending_settings_lock, key);
  if(bytes) {
    // Fails only when nobody listens.
    std::ignore = bt_gatt_notify(nullptr, &gtfog_service.attrs[settings_value], bytes->data(), static_cast<std::uint16_t>(bytes->size()));
  }
}
K_WORK_DEFINE(notify_settings_work, notify_settings);

// The battery thread feeds the watchdog, so it hands its notifications to the system workqueue: there Zephyr does not
// wait for a free ATT buffer (elsewhere it waits forever, e.g. while the accelerometer stream fills a slow link).
// A dropped notification is fine: the phone reads both values after connecting and the next sample sends them again.
std::atomic<std::uint8_t> battery_percent{100};

void notify_battery(k_work *) {
  std::ignore = bt_bas_set_battery_level(battery_percent); // Only fails for a value above 100.
}
K_WORK_DEFINE(notify_battery_work, notify_battery);

void notify_charger(k_work *) {
  std::uint8_t value = charger;
  std::ignore = bt_gatt_notify(nullptr, &gtfog_service.attrs[charger_value], &value, sizeof(value)); // Fails only when nobody listens.
}
K_WORK_DEFINE(notify_charger_work, notify_charger);

// Remembers that a refused pairing needs a status LED signal; the work takes the controller mutex, the Bluetooth callback must not.
void report_pairing_refused(k_work *) {
  with_controller([](gtfog::controller &control) { control.report(gtfog::signal::pairing_refused); });
}
K_WORK_DEFINE(pairing_refused_work, report_pairing_refused);

// New pairings are only accepted in the first minutes after boot; bonded phones are not asked.
enum bt_security_err pairing_accept(bt_conn *, bt_conn_pairing_feat const *) {
  constexpr std::int64_t pairing_window_ms = 3 * 60 * 1000;
  if(k_uptime_get() < pairing_window_ms) {
    return BT_SECURITY_ERR_SUCCESS;
  }
  k_work_submit(&pairing_refused_work);
  return BT_SECURITY_ERR_PAIR_NOT_ALLOWED;
}

bt_conn_auth_cb const auth_callbacks = {.pairing_accept = pairing_accept};

void connected(bt_conn *conn, std::uint8_t err) {
  if(err != 0) {
    LOG_WRN("connection failed: 0x%02x", err);
    return;
  }
  att_mtu = bt_gatt_get_mtu(conn);
  current_conn = bt_conn_ref(conn);
}

void security_changed(bt_conn *conn, bt_security_t level, bt_security_err err) {
  if(err == BT_SECURITY_ERR_SUCCESS && conn == current_conn) {
    link_encrypted = level >= BT_SECURITY_L2;
  }
}

void mtu_updated(bt_conn *, std::uint16_t tx, std::uint16_t rx) { att_mtu = std::min(tx, rx); }

bt_gatt_cb gatt_callbacks = {.att_mtu_updated = mtu_updated};

void disconnected(bt_conn *conn, std::uint8_t reason) {
  LOG_INF("disconnected: 0x%02x", reason);
  accelerometer_stream(false);
  if(conn == current_conn) {
    att_mtu = 0;
    link_encrypted = false;
    bt_conn_unref(current_conn.exchange(nullptr));
  }
}

void recycled() { k_work_reschedule(&advertising_work, K_NO_WAIT); }

} // namespace

BT_CONN_CB_DEFINE(connection_callbacks) = {
    .connected = connected,
    .disconnected = disconnected,
    .recycled = recycled,
    .security_changed = security_changed,
};

namespace gtfog {

void app_settings_load() {
  if(int err = settings_subsys_init(); err != 0) {
    LOG_WRN("settings init: %d", err);
    return;
  }
  if(int err = settings_load_subtree("gtfog"); err != 0) {
    LOG_WRN("settings: %d", err);
  }
}

auto ble_init() -> int {
  bt_gatt_cb_register(&gatt_callbacks);
  if(int err = bt_conn_auth_cb_register(&auth_callbacks); err != 0) {
    return err;
  }
  if(int err = bt_enable(nullptr); err != 0) {
    return err;
  }
  if(int err = settings_load_subtree("bt"); err != 0) { // Bonds; the "gtfog" subtree was loaded by app_settings_load().
    LOG_WRN("bt settings: %d", err);
  }
  k_work_reschedule(&advertising_work, K_NO_WAIT);
  return 0;
}

auto ble_stop() -> int {
  constexpr auto disconnect_wait_ms = 2000;
  stopping = true;
  if(auto *conn = current_conn.load()) {
    std::ignore = bt_conn_disconnect(conn, BT_HCI_ERR_REMOTE_USER_TERM_CONN); // Fails only when it is gone already.
  }
  for(int waited = 0; waited < disconnect_wait_ms && current_conn; waited += 10) {
    k_msleep(10);
  }
  std::ignore = bt_le_adv_stop(); // Fails when not advertising.
  return bt_disable();
}

auto ble_connected() -> bool { return link_encrypted; }

void ble_state_changed() {
  if(bt_is_ready()) {
    k_work_submit(&notify_work);
  }
}

void ble_settings_changed(device_settings const &settings) {
  auto key = k_spin_lock(&pending_settings_lock);
  pending_settings = encode(settings);
  k_spin_unlock(&pending_settings_lock, key);
  k_work_submit(&notify_settings_work);
  // Bursts (button auto-repeat in motion mode) become one flash write.
  k_work_reschedule(&save_settings_work, save_delay);
}

void ble_settings_flush() {
  k_work_cancel_delayable(&save_settings_work); // Does not wait: the system workqueue may be blocked on the controller mutex.
  save_pending();
}

void ble_battery_changed(std::uint8_t percent) {
  battery_percent = percent;
  if(bt_is_ready()) {
    k_work_submit(&notify_battery_work);
  }
}

void ble_charger_changed(charger_state state) {
  auto value = static_cast<std::uint8_t>(state);
  if(charger.exchange(value) != value && bt_is_ready()) {
    k_work_submit(&notify_charger_work);
  }
}

auto ble_accelerometer_samples_per_packet() -> std::size_t {
  return accelerometer_samples_per_packet(att_mtu); // 0 without a connection.
}

void ble_accelerometer_send(std::span<std::uint8_t const> packet) {
  // Waits for a free ATT buffer (this is not the system workqueue); a failed send drops the packet and the sequence number
  // shows the gap to the phone.
  std::ignore = bt_gatt_notify(nullptr, &gtfog_service.attrs[accelerometer_value], packet.data(), static_cast<std::uint16_t>(packet.size()));
}

} // namespace gtfog
```

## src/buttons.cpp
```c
// Samples the plus and minus buttons and feeds them to the gesture detector.
#include "app.hpp"

#include <zephyr/drivers/gpio.h>
#include <zephyr/init.h>
#include <zephyr/logging/log.h>

#include <chrono>
#include <tuple>

LOG_MODULE_REGISTER(buttons, LOG_LEVEL_INF);

using gtfog::with_controller;

namespace {

constexpr auto poll_interval = K_MSEC(20);
constexpr auto fault_signal_delay = K_SECONDS(2); // Lets the power-on signal finish first.

gpio_dt_spec const plus = GPIO_DT_SPEC_GET(DT_NODELABEL(button_plus), gpios);
gpio_dt_spec const minus = GPIO_DT_SPEC_GET(DT_NODELABEL(button_minus), gpios);

gpio_callback plus_callback;
gpio_callback minus_callback;

K_SEM_DEFINE(button_changed, 0, 1);

void on_change(device const *, gpio_callback *, std::uint32_t) { k_sem_give(&button_changed); }

auto setup(gpio_dt_spec const &button, gpio_callback &callback) -> int {
  if(!gpio_is_ready_dt(&button)) {
    return -ENODEV;
  }
  if(int err = gpio_pin_configure_dt(&button, GPIO_INPUT); err != 0) {
    return err;
  }
  if(int err = gpio_pin_interrupt_configure_dt(&button, GPIO_INT_EDGE_BOTH); err != 0) {
    return err;
  }
  gpio_init_callback(&callback, on_change, BIT(button.pin));
  return gpio_add_callback_dt(&button, &callback);
}

int init_error = 0;

auto buttons_init() -> int {
  init_error = setup(plus, plus_callback);
  init_error = init_error ?: setup(minus, minus_callback);
  return init_error;
}

SYS_INIT(buttons_init, APPLICATION, CONFIG_APPLICATION_INIT_PRIORITY);

void buttons_thread(void *, void *, void *) {
  gtfog::button_gestures gestures;
  gestures.wait_for_release(); // The press that woke the device may still be going on.
  if(init_error != 0) {
    LOG_ERR("buttons: %d", init_error);
    // ponytail: no interrupts, so only the polling below could work; show the fault once, after the power-on signal.
    k_sleep(fault_signal_delay);
    with_controller([](gtfog::controller &control) { control.report(gtfog::signal::fault); });
  }
  while(true) {
    auto now = std::chrono::milliseconds{k_uptime_get()};
    auto event = gestures.update(gpio_pin_get_dt(&plus) > 0, gpio_pin_get_dt(&minus) > 0, now);
    if(event && !gtfog::rf_test_running()) {
      with_controller([&](gtfog::controller &control) { control.handle(*event); });
    }
    k_sem_take(&button_changed, (init_error != 0 || !gestures.is_idle()) ? poll_interval : K_FOREVER);
  }
}

K_THREAD_DEFINE(buttons, 2048, buttons_thread, nullptr, nullptr, nullptr, 5, 0, 0);

} // namespace

auto gtfog::buttons_pressed() -> bool { return gpio_pin_get_dt(&plus) > 0 || gpio_pin_get_dt(&minus) > 0; }

void gtfog::buttons_arm_wake() {
  constexpr auto release_timeout_ms = 10'000;
  for(int waited = 0; waited < release_timeout_ms && (gpio_pin_get_dt(&plus) > 0 || gpio_pin_get_dt(&minus) > 0); waited += 10) {
    k_msleep(10);
  }
  // A button still held would wake the chip at once, so a stuck one is left out; with both held there is no choice.
  bool plus_held = gpio_pin_get_dt(&plus) > 0;
  bool minus_held = gpio_pin_get_dt(&minus) > 0;
  auto arm = [](gpio_dt_spec const &button, bool on) {
    return gpio_pin_interrupt_configure_dt(&button, on ? GPIO_INT_LEVEL_ACTIVE : GPIO_INT_DISABLE);
  };
  // Not registered when setup failed (-EINVAL); the level interrupts below do not need the callbacks.
  std::ignore = gpio_remove_callback_dt(&plus, &plus_callback);
  std::ignore = gpio_remove_callback_dt(&minus, &minus_callback);
  if(arm(plus, !plus_held || minus_held) != 0 || arm(minus, !minus_held || plus_held) != 0) {
    LOG_ERR("cannot arm the buttons for wake-up");
  }
}
```

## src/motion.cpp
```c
#include "motion.hpp"

#include <cmath>

namespace gtfog {

namespace {

auto put16(std::uint8_t *at, std::int32_t value) noexcept -> std::uint8_t * {
  auto v = static_cast<std::uint16_t>(value);
  at[0] = static_cast<std::uint8_t>(v & 0xff);
  at[1] = static_cast<std::uint8_t>(v >> 8);
  return at + 2;
}

} // namespace

auto pack_accelerometer_samples(std::uint16_t seq, std::uint8_t rate_hz, std::span<accelerometer_sample const> samples,
                                std::span<std::uint8_t> out) noexcept -> std::size_t {
  if(samples.size() > 255 || out.size() < accelerometer_header_size + accelerometer_sample_size * samples.size()) {
    return 0;
  }
  auto *at = put16(out.data(), seq);
  *at++ = rate_hz;
  *at++ = static_cast<std::uint8_t>(samples.size());
  for(auto const &s : samples) {
    at = put16(at, counts_to_milli_g(s.x));
    at = put16(at, counts_to_milli_g(s.y));
    at = put16(at, counts_to_milli_g(s.z));
  }
  return static_cast<std::size_t>(at - out.data());
}

auto activity_classifier::update(std::span<accelerometer_sample const> samples) noexcept -> std::optional<activity_level> {
  std::optional<activity_level> level;
  for(auto const &s : samples) {
    float x = counts_to_milli_g(s.x), y = counts_to_milli_g(s.y), z = counts_to_milli_g(s.z);
    float magnitude = std::sqrt(x * x + y * y + z * z);
    float delta = magnitude - mean;
    mean += delta / static_cast<float>(++count);
    m2 += delta * (magnitude - mean);
    if(count == window_samples) {
      float deviation = std::sqrt(m2 / window_samples);
      level = deviation < walk_threshold_milli_g  ? activity_level::still
              : deviation < run_threshold_milli_g ? activity_level::walking
                                                  : activity_level::running;
      count = 0;
      mean = m2 = 0;
    }
  }
  return level;
}

} // namespace gtfog
```
